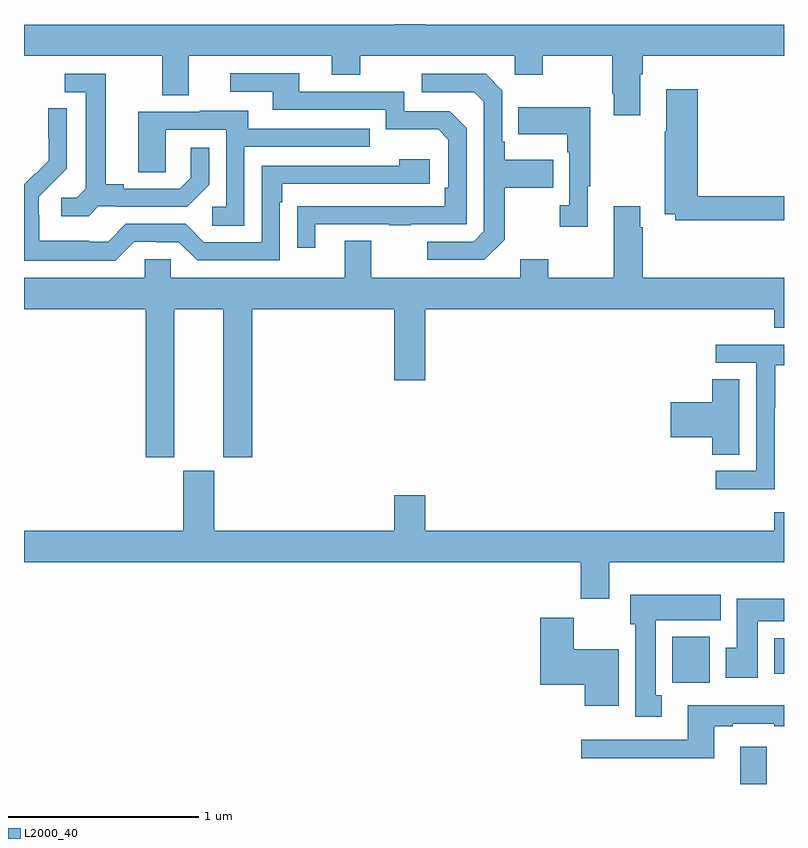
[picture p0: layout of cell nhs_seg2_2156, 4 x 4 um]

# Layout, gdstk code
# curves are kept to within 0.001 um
import gdstk
lib = gdstk.Library(unit=1e-6, precision=1e-09)
def R(c, l, rs):  # rectangles x0, y0, x1, y1
    for r in rs: c.add(gdstk.rectangle(r[:2], r[2:], *l))
def P(c, l, *ps):  # polygons
    for p in ps: c.add(gdstk.Polygon(p, *l))
L2000_40 = (2000, 40)

nhs_seg2_2156 = lib.new_cell('nhs_seg2_2156')
R(nhs_seg2_2156, L2000_40, [(226.769,647.8,226.909,647.995), (226.412,648.332,226.609,648.574), (226.949,648.38,227,648.568)])
P(nhs_seg2_2156, L2000_40, [(226.243,651.536),(226.256,651.536),(226.256,651.632),(227,651.632),(227,651.796),(225.112,651.796),(225.112,651.8),(224.948,651.8),(224.948,651.796),(223,651.796),(223,651.632),(223.727,651.632),(223.727,651.424),(223.867,651.424),(223.867,651.632),(224.621,651.632),(224.621,651.533),(224.769,651.533),(224.769,651.632),(225.582,651.632),(225.582,651.533),(225.729,651.533),(225.729,651.632),(226.096,651.632),(226.096,651.433),(226.103,651.433),(226.103,651.321),(226.243,651.321)],
  [(224.533,650.745),(224.923,650.745),(224.923,650.74),(225.035,650.74),(225.035,650.745),(225.33,650.745),(225.33,651.252),(225.24,651.342),(225,651.342),(225,651.444),(224.449,651.444),(224.449,651.54),(224.085,651.54),(224.085,651.444),(224.309,651.444),(224.309,651.348),(224.904,651.348),(224.904,651.245),(225.181,651.245),(225.234,651.192),(225.234,650.938),(225.214,650.938),(225.214,650.841),(224.437,650.84),(224.437,650.622),(224.533,650.622)],
  [(225.529,650.665),(225.529,650.938),(225.785,650.938),(225.785,651.085),(225.529,651.085),(225.529,651.181),(225.516,651.181),(225.516,651.45),(225.429,651.537),(225.093,651.537),(225.093,651.441),(225.369,651.441),(225.42,651.39),(225.42,650.709),(225.366,650.655),(225.123,650.655),(225.123,650.559),(225.423,650.559)],
  [(223.392,650.841),(223.486,650.841),(223.486,650.838),(223.858,650.838),(223.974,650.954),(223.974,651.148),(223.877,651.148),(223.877,650.991),(223.82,650.934),(223.525,650.934),(223.525,650.957),(223.429,650.957),(223.429,651.537),(223.215,651.537),(223.215,651.441),(223.325,651.441),(223.325,650.933),(223.278,650.886),(223.197,650.886),(223.197,650.789),(223.34,650.789)],
  [(227,650.894),(226.547,650.894),(226.547,651.457),(226.379,651.457),(226.379,651.233),(226.372,651.233),(226.372,650.798),(226.428,650.798),(226.428,650.766),(227,650.766)],
  [(225.967,650.945),(225.979,650.945),(225.979,651.361),(225.601,651.361),(225.601,651.221),(225.858,651.221),(225.858,651.125),(225.87,651.125),(225.87,650.846),(225.819,650.846),(225.819,650.733),(225.967,650.733)],
  [(223.581,650.655),(223.697,650.655),(223.697,650.652),(223.815,650.652),(223.911,650.556),(224.346,650.556),(224.346,650.861),(224.359,650.861),(224.359,650.958),(225.136,650.958),(225.136,651.088),(224.975,651.088),(224.975,651.054),(224.25,651.054),(224.25,650.652),(223.947,650.652),(223.851,650.748),(223.536,650.748),(223.443,650.655),(223.343,650.655),(223.343,650.659),(223.08,650.659),(223.08,650.793),(223.078,650.793),(223.078,650.89),(223.224,651.038),(223.224,651.356),(223.128,651.356),(223.128,651.202),(223.13,651.202),(223.13,651.08),(223.059,651.009),(223.056,651.012),(223,650.956),(223,650.555),(223.481,650.555)],
  [(224.16,651.153),(224.819,651.153),(224.819,651.249),(224.179,651.249),(224.179,651.343),(223.925,651.343),(223.925,651.339),(223.601,651.339),(223.601,651.019),(223.746,651.019),(223.746,651.243),(224.064,651.243),(224.064,650.838),(223.992,650.838),(223.992,650.737),(224.16,650.737)],
  [(223.792,650.3),(224.048,650.3),(224.048,649.521),(224.201,649.521),(224.201,650.3),(224.948,650.3),(224.948,649.926),(225.112,649.926),(225.112,650.3),(226.949,650.3),(226.949,650.201),(227,650.201),(227,650.464),(226.256,650.464),(226.256,650.729),(226.243,650.729),(226.243,650.842),(226.103,650.842),(226.103,650.464),(225.759,650.464),(225.759,650.563),(225.611,650.563),(225.611,650.464),(224.827,650.464),(224.827,650.659),(224.687,650.659),(224.687,650.464),(223.773,650.464),(223.773,650.562),(223.635,650.562),(223.635,650.464),(223,650.464),(223,650.3),(223.64,650.3),(223.64,649.521),(223.792,649.521)],
  [(226.95,649.78),(226.953,649.78),(226.953,650.004),(227,650.004),(227,650.112),(226.641,650.112),(226.641,650.016),(226.854,650.016),(226.854,649.449),(226.641,649.449),(226.641,649.351),(226.95,649.351)],
  [(226.765,649.931),(226.622,649.931),(226.622,649.808),(226.404,649.808),(226.404,649.625),(226.622,649.625),(226.622,649.534),(226.765,649.534)],
  [(224.948,649.321),(224.948,649.132),(224.002,649.132),(224.002,649.449),(223.838,649.449),(223.838,649.132),(223,649.132),(223,648.968),(225.929,648.968),(225.929,648.774),(226.081,648.774),(226.081,648.968),(227,648.968),(227,649.231),(226.949,649.231),(226.949,649.132),(225.112,649.132),(225.112,649.321)],
  [(226.357,648.266),(226.324,648.266),(226.324,648.662),(226.666,648.662),(226.666,648.796),(226.19,648.796),(226.19,648.642),(226.217,648.642),(226.217,648.153),(226.357,648.153)],
  [(226.861,648.656),(227,648.656),(227,648.775),(226.751,648.775),(226.751,648.516),(226.694,648.516),(226.694,648.36),(226.861,648.36)],
  [(226.129,648.508),(225.894,648.508),(225.894,648.676),(225.716,648.676),(225.716,648.323),(225.95,648.323),(225.95,648.212),(226.129,648.212)],
  [(226.633,648.105),(226.729,648.105),(226.729,648.117),(226.949,648.117),(226.949,648.105),(227,648.105),(227,648.214),(226.493,648.214),(226.493,648.033),(225.933,648.033),(225.933,647.936),(226.633,647.936)])

lib.write_gds('nhs_seg2_2156.gds')
